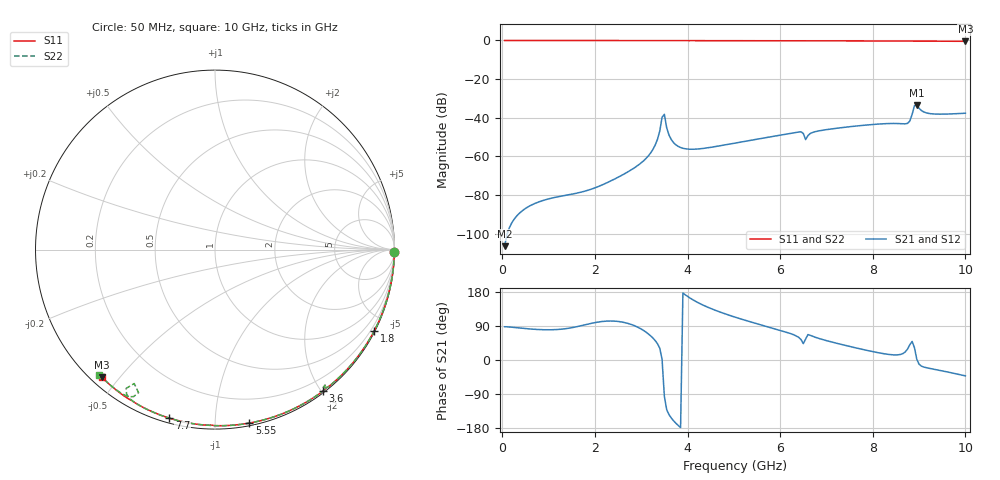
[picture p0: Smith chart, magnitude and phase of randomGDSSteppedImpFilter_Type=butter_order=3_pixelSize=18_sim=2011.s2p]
! freq	dB(S11)	phase(S11)	dB(S12)	phase(S12)
!  dB(S21)	phase(S21)	dB(S22)	phase(S22)
!S-par simulation data
#  GHz  S  DB  R 50
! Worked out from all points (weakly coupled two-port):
!   200 points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, 50 MHz to 10 GHz, reference 50 ohm
!   highest |S21| = -33.53 dB at 8.95 GHz (marker M1); lowest = -106.5 dB at 50 MHz (marker M2)
!   lowest |S11| = -0.4 dB at 10 GHz (marker M3), VSWR 39.18, Z = 1.54 - j22.5 ohm
!   |S11| at or under -10 dB: nowhere
!   |S22| runs from -1.2 to 0.0 dB; largest |S21 - S12| = 0
!   S11 on the Smith chart (normalised r, x): 50 MHz: open; 1.8 GHz: 0.04, -4.16; 3.6 GHz: 0.02, -2.02; 5.55 GHz: 0.02, -1.22; 7.7 GHz: 0.02, -0.77; 10 GHz: 0.03, -0.45
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0.05  -0.00 -0.8  -106.53 87.7  -106.53 87.7  -0.01 -0.8
1.75  -0.03 -26.3  -78.26 91.8  -78.26 91.8  -0.03 -26.6
1.8  -0.03 -27.0  -77.93 93.2  -77.93 93.2  -0.03 -27.3
3  -0.06 -44.4  -63.37 81.7  -63.37 81.7  -0.06 -44.9
3.25  -0.06 -47.9  -56.53 58.3  -56.53 58.3  -0.07 -48.6
3.4  -0.07 -50.1  -46.94 31.1  -46.94 31.1  -0.09 -51.1
3.45  -0.10 -50.9  -39.76 2.0  -39.76 2.0  -0.20 -52.3
3.5  -0.11 -51.2  -38.25 -96.0  -38.25 -96.0  -0.25 -50.9
3.6  -0.07 -52.7  -49.01 -144.2  -49.01 -144.2  -0.08 -52.9
3.95  -0.08 -57.6  -56.09 172.1  -56.09 172.1  -0.08 -58.1
5.05  -0.11 -72.3  -53.03 112.2  -53.03 112.2  -0.11 -73.0
5.55  -0.13 -78.8  -50.91 93.9  -50.91 93.9  -0.13 -79.6
6.45  -0.17 -90.2  -47.31 54.0  -47.31 54.0  -0.17 -91.1
6.55  -0.19 -91.3  -51.34 55.3  -51.34 55.3  -0.18 -92.3
6.7  -0.18 -93.1  -47.66 62.7  -47.66 62.7  -0.18 -94.2
7.7  -0.24 -105.1  -44.17 30.1  -44.17 30.1  -0.24 -106.4
8.35  -0.29 -112.7  -43.02 14.6  -43.02 14.6  -0.30 -114.4
8.75  -0.33 -117.4  -42.95 28.8  -42.95 28.8  -0.41 -120.3
8.9  -0.36 -119.0  -33.78 32.5  -33.78 32.5  -1.20 -121.1
8.95  -0.35 -119.5  -33.53 2.1  -33.53 2.1  -0.88 -118.1
9.2  -0.36 -122.4  -37.74 -21.5  -37.74 -21.5  -0.40 -122.8
10  -0.44 -131.5  -37.68 -41.9  -37.68 -41.9  -0.45 -132.8
